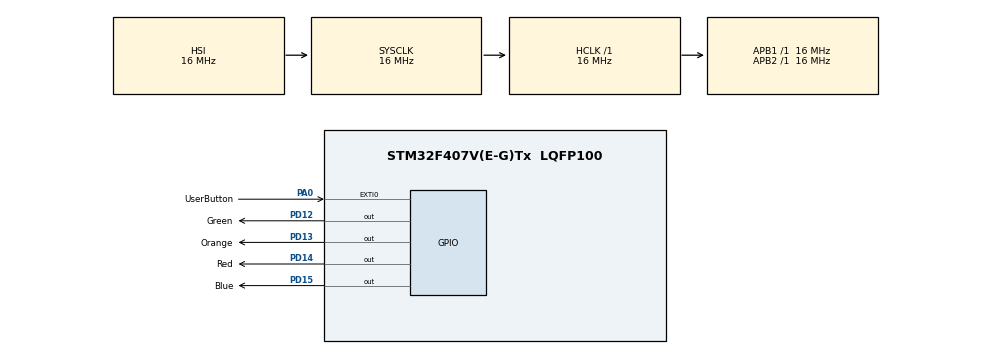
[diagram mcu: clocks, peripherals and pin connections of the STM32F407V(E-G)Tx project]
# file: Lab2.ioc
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Mcu.Family=STM32F4
Mcu.Name=STM32F407V(E-G)Tx
Mcu.Package=LQFP100
NVIC.EXTI0_IRQn=true\:0\:0\:false\:false\:true\:true\:true\:true
NVIC.PriorityGroup=NVIC_PRIORITYGROUP_4
PA0-WKUP.GPIO_Label=UserButton
PA0-WKUP.Signal=GPXTI0
PD12.GPIO_Label=Green
PD12.Signal=GPIO_Output
PD13.GPIO_Label=Orange
PD13.Signal=GPIO_Output
PD14.GPIO_Label=Red
PD14.Signal=GPIO_Output
PD15.GPIO_Label=Blue
PD15.Signal=GPIO_Output
ProjectManager.HeapSize=0x200
ProjectManager.StackSize=0x400
ProjectManager.TargetToolchain=STM32CubeIDE
RCC.AHBFreq_Value=16000000
RCC.APB1Freq_Value=16000000
RCC.APB2Freq_Value=16000000
RCC.CortexFreq_Value=16000000
RCC.HSE_VALUE=25000000
RCC.HSI_VALUE=16000000
RCC.LSE_VALUE=32768
RCC.SYSCLKFreq_VALUE=16000000
RCC.VCOOutputFreq_Value=192000000
board=custom

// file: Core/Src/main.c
/* USER CODE BEGIN Header */
/**
  ******************************************************************************
  * @file           : main.c
  * @brief          : Main program body
  ******************************************************************************
  * @attention
  *
  * Copyright (c) 2026 STMicroelectronics.
  * All rights reserved.
  *
  * This software is licensed under terms that can be found in the LICENSE file
  * in the root directory of this software component.
  * If no LICENSE file comes with this software, it is provided AS-IS.
  *
  ******************************************************************************
  */
/* USER CODE END Header */
#include "main.h"

/* USER CODE BEGIN PV */
uint16_t i = 0;
int delay = 500;
/* USER CODE END PV */

void SystemClock_Config(void);
static void MX_GPIO_Init(void);

/* USER CODE BEGIN 0 */
	  void OneCircle(int delay){
		  HAL_GPIO_WritePin(GPIOD, Blue_Pin, GPIO_PIN_SET);
		  HAL_Delay(delay);
		  HAL_GPIO_WritePin(GPIOD, Blue_Pin, GPIO_PIN_RESET);

		  HAL_GPIO_WritePin(GPIOD, Green_Pin, GPIO_PIN_SET);
		  HAL_Delay(delay);
		  HAL_GPIO_WritePin(GPIOD, Green_Pin, GPIO_PIN_RESET);

		  HAL_GPIO_WritePin(GPIOD, Orange_Pin, GPIO_PIN_SET);
		  HAL_Delay(delay);
		  HAL_GPIO_WritePin(GPIOD, Orange_Pin, GPIO_PIN_RESET);

		  HAL_GPIO_WritePin(GPIOD, Red_Pin, GPIO_PIN_SET);
		  HAL_Delay(delay);
		  HAL_GPIO_WritePin(GPIOD, Red_Pin, GPIO_PIN_RESET);
	  }

	  void TwoCircle(int delay){
		  HAL_GPIO_WritePin(GPIOD, Red_Pin, GPIO_PIN_RESET);
		  HAL_GPIO_WritePin(GPIOD, Blue_Pin, GPIO_PIN_SET);
		  HAL_GPIO_WritePin(GPIOD, Green_Pin, GPIO_PIN_SET);
		  HAL_Delay(delay);

		  HAL_GPIO_WritePin(GPIOD, Blue_Pin, GPIO_PIN_RESET);
		  HAL_GPIO_WritePin(GPIOD, Orange_Pin, GPIO_PIN_SET);
		  HAL_Delay(delay);

		  HAL_GPIO_WritePin(GPIOD, Green_Pin, GPIO_PIN_RESET);
		  HAL_GPIO_WritePin(GPIOD, Red_Pin, GPIO_PIN_SET);
		  HAL_Delay(delay);

		  HAL_GPIO_WritePin(GPIOD, Blue_Pin, GPIO_PIN_SET);
		  HAL_GPIO_WritePin(GPIOD, Orange_Pin, GPIO_PIN_RESET);
		  HAL_Delay(delay);
	  }

	  void ThreeCircle(int delay){
		  HAL_GPIO_WritePin(GPIOD, Blue_Pin | Green_Pin | Orange_Pin , GPIO_PIN_SET);
		  HAL_GPIO_WritePin(GPIOD, Red_Pin, GPIO_PIN_RESET);
		  HAL_Delay(delay);

		  HAL_GPIO_WritePin(GPIOD, Blue_Pin, GPIO_PIN_RESET);
		  HAL_GPIO_WritePin(GPIOD, Red_Pin, GPIO_PIN_SET);
		  HAL_Delay(delay);

		  HAL_GPIO_WritePin(GPIOD, Green_Pin, GPIO_PIN_RESET);
		  HAL_GPIO_WritePin(GPIOD, Blue_Pin, GPIO_PIN_SET);
		  HAL_Delay(delay);

		  HAL_GPIO_WritePin(GPIOD, Green_Pin, GPIO_PIN_SET);
		  HAL_GPIO_WritePin(GPIOD, Orange_Pin, GPIO_PIN_RESET);
		  HAL_Delay(delay);
	  }

	  void TwoParallelOne(void){
		  HAL_GPIO_WritePin(GPIOD, Orange_Pin, GPIO_PIN_RESET);
		  HAL_GPIO_WritePin(GPIOD, Blue_Pin, GPIO_PIN_RESET);
		  HAL_GPIO_WritePin(GPIOD, Red_Pin, GPIO_PIN_SET);
		  HAL_GPIO_WritePin(GPIOD, Green_Pin, GPIO_PIN_SET);
	  }

	  void TwoParallelTwo(void){
		  HAL_GPIO_WritePin(GPIOD, Red_Pin, GPIO_PIN_RESET);
		  HAL_GPIO_WritePin(GPIOD, Green_Pin, GPIO_PIN_RESET);
		  HAL_GPIO_WritePin(GPIOD, Orange_Pin, GPIO_PIN_SET);
		  HAL_GPIO_WritePin(GPIOD, Blue_Pin, GPIO_PIN_SET);
	  }

	  void BlinkAll(void){
		  HAL_GPIO_WritePin(GPIOD, Blue_Pin | Green_Pin | Orange_Pin | Red_Pin, GPIO_PIN_SET);
		  HAL_Delay(150);
		  HAL_GPIO_WritePin(GPIOD, Blue_Pin | Green_Pin | Orange_Pin | Red_Pin, GPIO_PIN_RESET);
		  HAL_Delay(150);
	  }

	  void OneCircleR(int delay){
		  HAL_GPIO_WritePin(GPIOD, Blue_Pin, GPIO_PIN_SET);
		  HAL_Delay(delay);
		  HAL_GPIO_WritePin(GPIOD, Blue_Pin, GPIO_PIN_RESET);

		  HAL_GPIO_WritePin(GPIOD, Red_Pin, GPIO_PIN_SET);
		  HAL_Delay(delay);
		  HAL_GPIO_WritePin(GPIOD, Red_Pin, GPIO_PIN_RESET);

		  HAL_GPIO_WritePin(GPIOD, Orange_Pin, GPIO_PIN_SET);
		  HAL_Delay(delay);
		  HAL_GPIO_WritePin(GPIOD, Orange_Pin, GPIO_PIN_RESET);

		  HAL_GPIO_WritePin(GPIOD, Green_Pin, GPIO_PIN_SET);
		  HAL_Delay(delay);
		  HAL_GPIO_WritePin(GPIOD, Green_Pin, GPIO_PIN_RESET);
	  }

	  void OneAllOne(int delay){
		  HAL_GPIO_WritePin(GPIOD, Blue_Pin, GPIO_PIN_SET);
		  HAL_Delay(delay);
		  HAL_GPIO_WritePin(GPIOD, Green_Pin, GPIO_PIN_SET);
		  HAL_Delay(delay);
		  HAL_GPIO_WritePin(GPIOD, Orange_Pin, GPIO_PIN_SET);
		  HAL_Delay(delay);
		  HAL_GPIO_WritePin(GPIOD, Red_Pin, GPIO_PIN_SET);
		  HAL_Delay(delay);
		  HAL_GPIO_WritePin(GPIOD, Red_Pin, GPIO_PIN_RESET);
		  HAL_Delay(delay);
		  HAL_GPIO_WritePin(GPIOD, Orange_Pin, GPIO_PIN_RESET);
		  HAL_Delay(delay);
		  HAL_GPIO_WritePin(GPIOD, Green_Pin, GPIO_PIN_RESET);
		  HAL_Delay(delay);
		  HAL_GPIO_WritePin(GPIOD, Blue_Pin, GPIO_PIN_RESET);
		  HAL_Delay(delay);
	  }
	  void OneAllTwo(int delay){
		  HAL_GPIO_WritePin(GPIOD, Blue_Pin, GPIO_PIN_SET);
		  HAL_Delay(delay);
		  HAL_GPIO_WritePin(GPIOD, Red_Pin, GPIO_PIN_SET);
		  HAL_Delay(delay);
		  HAL_GPIO_WritePin(GPIOD, Orange_Pin, GPIO_PIN_SET);
		  HAL_Delay(delay);
		  HAL_GPIO_WritePin(GPIOD, Green_Pin, GPIO_PIN_SET);
		  HAL_Delay(delay);

		  HAL_GPIO_WritePin(GPIOD, Green_Pin, GPIO_PIN_RESET);
		  HAL_Delay(delay);
		  HAL_GPIO_WritePin(GPIOD, Orange_Pin, GPIO_PIN_RESET);
		  HAL_Delay(delay);
		  HAL_GPIO_WritePin(GPIOD, Red_Pin, GPIO_PIN_RESET);
		  HAL_Delay(delay);
		  HAL_GPIO_WritePin(GPIOD, Blue_Pin, GPIO_PIN_RESET);
		  HAL_Delay(delay);
	  }

	  void ResetAll(void){
		  HAL_GPIO_WritePin(GPIOD, Blue_Pin | Green_Pin | Orange_Pin | Red_Pin, GPIO_PIN_RESET);
	  }
//	  --------------------------------------------------------------
	  void AlgorithmOne(int delay){
		  OneCircle(delay);
		  TwoCircle(delay);
		  ThreeCircle(delay);

		  HAL_GPIO_WritePin(GPIOD, Blue_Pin | Green_Pin | Orange_Pin | Red_Pin, GPIO_PIN_SET);
		  HAL_Delay(delay);
	  }
//	  --------------------------------------------------------------
  	  void AlgorithmTwo(int delay){
  		  OneAllOne(delay);
  		  OneAllTwo(delay);
  	  }
//	  --------------------------------------------------------------
	  void AlgorithmThree(int delay){
		  TwoParallelOne();
		  HAL_Delay(delay);

		  TwoParallelTwo();
		  HAL_Delay(delay);
	  }
//	  --------------------------------------------------------------
  	  void AlgorithmFour(int delay){
  		  OneCircle(delay);
  		  OneCircleR(delay);
  	  }
//	  --------------------------------------------------------------
  	  void AlgorithmFive(){
  		  BlinkAll();
  	  }
/* USER CODE END 0 */

int main(void)
{

  /* MCU Configuration--------------------------------------------------------*/

  /* Reset of all peripherals, Initializes the Flash interface and the Systick. */
  HAL_Init();

  /* Configure the system clock */
  SystemClock_Config();

  /* Initialize all configured peripherals */
  MX_GPIO_Init();

  /* Infinite loop */
  /* USER CODE BEGIN WHILE */
  while (1)
  {
      switch (i)
      {
          case 0:
              ResetAll();
              AlgorithmOne(delay);
              break;

          case 1:
              ResetAll();
              AlgorithmTwo(delay);
              break;

          case 2:
              ResetAll();
              AlgorithmThree(delay);
              break;

          case 3:
              ResetAll();
              AlgorithmFour(delay);
              break;
          case 4:
              ResetAll();
              AlgorithmFive();
              break;
      }
    /* USER CODE END WHILE */

  }
}

void SystemClock_Config(void)
{
  RCC_OscInitTypeDef RCC_OscInitStruct = {0};
  RCC_ClkInitTypeDef RCC_ClkInitStruct = {0};

  /** Configure the main internal regulator output voltage
  */
  __HAL_RCC_PWR_CLK_ENABLE();
  __HAL_PWR_VOLTAGESCALING_CONFIG(PWR_REGULATOR_VOLTAGE_SCALE1);

  /** Initializes the RCC Oscillators according to the specified parameters
  * in the RCC_OscInitTypeDef structure.
  */
  RCC_OscInitStruct.OscillatorType = RCC_OSCILLATORTYPE_HSI;
  RCC_OscInitStruct.HSIState = RCC_HSI_ON;
  RCC_OscInitStruct.HSICalibrationValue = RCC_HSICALIBRATION_DEFAULT;
  RCC_OscInitStruct.PLL.PLLState = RCC_PLL_NONE;
  if (HAL_RCC_OscConfig(&RCC_OscInitStruct) != HAL_OK)
  {
    Error_Handler();
  }

  /** Initializes the CPU, AHB and APB buses clocks
  */
  RCC_ClkInitStruct.ClockType = RCC_CLOCKTYPE_HCLK|RCC_CLOCKTYPE_SYSCLK
                              |RCC_CLOCKTYPE_PCLK1|RCC_CLOCKTYPE_PCLK2;
  RCC_ClkInitStruct.SYSCLKSource = RCC_SYSCLKSOURCE_HSI;
  RCC_ClkInitStruct.AHBCLKDivider = RCC_SYSCLK_DIV1;
  RCC_ClkInitStruct.APB1CLKDivider = RCC_HCLK_DIV1;
  RCC_ClkInitStruct.APB2CLKDivider = RCC_HCLK_DIV1;

  if (HAL_RCC_ClockConfig(&RCC_ClkInitStruct, FLASH_LATENCY_0) != HAL_OK)
  {
    Error_Handler();
  }
}

static void MX_GPIO_Init(void)
{
  GPIO_InitTypeDef GPIO_InitStruct = {0};

  /* GPIO Ports Clock Enable */
  __HAL_RCC_GPIOA_CLK_ENABLE();
  __HAL_RCC_GPIOD_CLK_ENABLE();

  /*Configure GPIO pin Output Level */
  HAL_GPIO_WritePin(GPIOD, Green_Pin|Orange_Pin|Red_Pin|Blue_Pin, GPIO_PIN_RESET);

  /*Configure GPIO pin : UserButton_Pin */
  GPIO_InitStruct.Pin = UserButton_Pin;
  GPIO_InitStruct.Mode = GPIO_MODE_IT_RISING;
  GPIO_InitStruct.Pull = GPIO_NOPULL;
  HAL_GPIO_Init(UserButton_GPIO_Port, &GPIO_InitStruct);

  /*Configure GPIO pins : Green_Pin Orange_Pin Red_Pin Blue_Pin */
  GPIO_InitStruct.Pin = Green_Pin|Orange_Pin|Red_Pin|Blue_Pin;
  GPIO_InitStruct.Mode = GPIO_MODE_OUTPUT_PP;
  GPIO_InitStruct.Pull = GPIO_NOPULL;
  GPIO_InitStruct.Speed = GPIO_SPEED_FREQ_LOW;
  HAL_GPIO_Init(GPIOD, &GPIO_InitStruct);

  /* EXTI interrupt init*/
  HAL_NVIC_SetPriority(EXTI0_IRQn, 0, 0);
  HAL_NVIC_EnableIRQ(EXTI0_IRQn);

}

/* USER CODE BEGIN 4 */
void HAL_GPIO_EXTI_Callback(uint16_t GPIO_Pin)
{
    if (GPIO_Pin == UserButton_Pin)
    {
        i++;

        if (i >= 5)
        {
            i = 0;
        }
    }
}
/* USER CODE END 4 */

void Error_Handler(void)
{
  __disable_irq();
  while (1)
  {
  }
}
